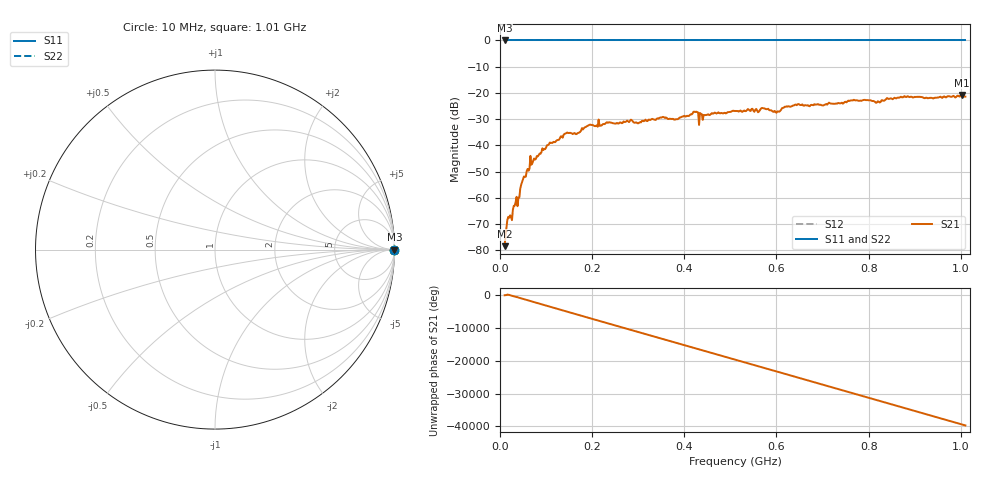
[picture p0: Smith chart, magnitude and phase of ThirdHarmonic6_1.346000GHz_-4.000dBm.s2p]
! 8/16/2025 3:07:24 PM
! C:\ANRITSUVNA\TEMP\TEMP.S2P
! CHANNEL.1
! TR.MEASUREMENT
! RAW.DATA
! RF.CORRECTION.OFF
! AVERAGING.OFF
! IF.BANDWIDTH: 5KHZ
! SWEEPTYPE:  FREQ.SWEEP(Linear)
! Reference Plane Port Info
! PORT:  PORT1  PORT2
! DISTANCE:  0  m  0  m
! TIME:  0  s  0  s
! PHASE.OFFSET:  0  deg.  0  deg.
! LOSS:  0  dB  0  dB
! REF.LOSS:  0  dB  0  dB
! REF.FREQ:  0  Hz  0  Hz
! Power Info
! POWER:  -20  dBm  -20  dBm
! EFF.POWER:  -20  dBm  -20  dBm
! SOURCE.ATTEN:  0  dB  0  dB
! TEST.ATTEN:  0  dB  0  dB
# GHZ S RI R 50.0
! FREQ.GHZ  S11RE  S11IM  S21RE  S21IM  S12RE  S12IM  S22RE  S22IM
!; PortSelection: Port_12
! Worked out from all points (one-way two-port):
!   501 points, 10 MHz to 1.01 GHz, reference 50 ohm
!   highest |S21| = -20.75 dB at 1.002 GHz (marker M1); lowest = -78.4 dB at 10 MHz (marker M2)
!   lowest |S11| = 0.0 dB at 10 MHz (marker M3)
!   |S11| at or under -10 dB: nowhere
!   |S22| runs from 0.0 to 0.0 dB; largest |S21 - S12| = 1.1
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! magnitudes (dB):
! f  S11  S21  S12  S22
! 10 MHz  0.0  -78.4  0.0  0.0
! 18 MHz  0.0  -67.2  0.0  0.0
! 28 MHz  0.0  -64.4  0.0  0.0
! 42 MHz  0.0  -59.8  0.0  0.0
! 48 MHz  0.0  -54.0  0.0  0.0
! 70 MHz  0.0  -46.9  0.0  0.0
! 106 MHz  0.0  -39.6  0.0  0.0
! 142 MHz  0.0  -35.5  0.0  0.0
! 178 MHz  0.0  -33.4  0.0  0.0
! 196 MHz  0.0  -32.1  0.0  0.0
! 344 MHz  0.0  -29.8  0.0  0.0
! 382 MHz  0.0  -30.0  0.0  0.0
! 424 MHz  0.0  -27.3  0.0  0.0
! 436 MHz  0.0  -27.9  0.0  0.0
! 510 MHz  0.0  -26.9  0.0  0.0
! 572 MHz  0.0  -25.9  0.0  0.0
! 602 MHz  0.0  -27.0  0.0  0.0
! 622 MHz  0.0  -25.1  0.0  0.0
! 678 MHz  0.0  -24.6  0.0  0.0
! 844 MHz  0.0  -22.3  0.0  0.0
! 1.002 GHz  0.0  -20.8  0.0  0.0
! 1.01 GHz  0.0  -21.4  0.0  0.0
